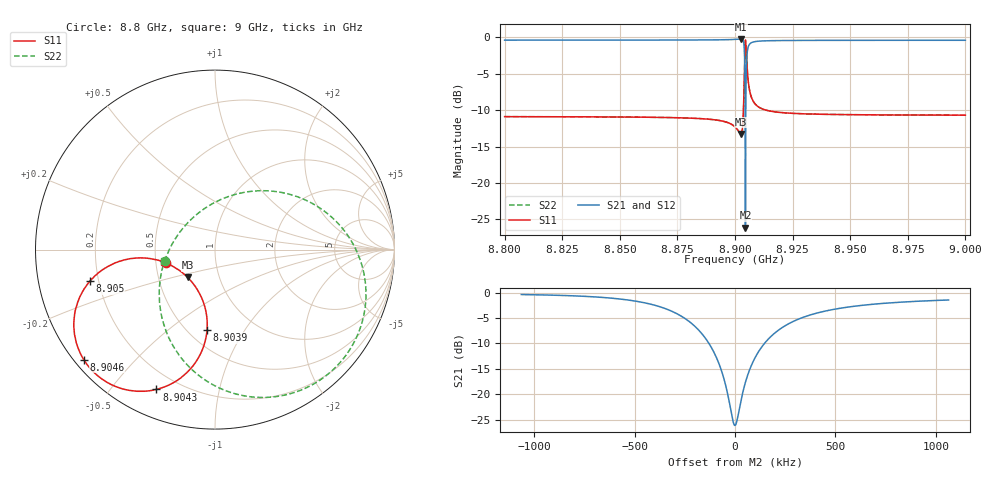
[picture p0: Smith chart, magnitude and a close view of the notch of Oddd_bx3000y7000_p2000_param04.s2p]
! Sonnet Data File
! From: emgraph Version : 16.52
! From Project: Resonator2
! Data is De-embedded
! Data File Written: 10/05/2017 10:46:05
!< HDATE 10/04/2017 20:26:48
!< MDATE 10/05/2017 00:36:07
!< PARAMS
!< gap = 26.0
!< Length = 400.0
!< Pwid1 = 2000.0
!< Pwid2 = 2000.0
!< END PARAMS
# GHZ S MA R 50.00000
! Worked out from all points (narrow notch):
!   1595 points, 8.8 GHz to 9 GHz, reference 50 ohm
!   highest |S21| = -0.22 dB at 8.9024 GHz (marker M1); lowest = -26.2 dB at 8.9045 GHz (marker M2)
!   notch at M2: 25.8 dB deep, 181 kHz wide at half that depth
!   lowest |S11| = -13.3 dB at 8.9026 GHz (marker M3), VSWR 1.56, Z = 35.3 - j11.5 ohm
!   |S11| at or under -10 dB: start of sweep to 8.9037 GHz; 8.9135 GHz to end of sweep
!   |S22| runs from -13.4 to -0.5 dB; largest |S21 - S12| = 0
!   S11 on the Smith chart (normalised r, x): 8.8 GHz: 0.56, -0.09; 8.9039 GHz: 0.62, -0.69; 8.9043 GHz: 0.12, -0.66; 8.9046 GHz: 0.03, -0.36; 8.905 GHz: 0.17, -0.12; 9 GHz: 0.55, -0.08
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8.8  0.2855 -164.4  0.9584 -75.6  0.9584 -75.6  0.2855 -166.7
!< P1 F=8.8 Eeff=(5.36817953 -2.3731e-5) Z0=(35.9853883 8.0522e-5) R=0.0 C=0.0
!< P2 F=8.8 Eeff=(5.36817953 -2.3731e-5) Z0=(35.9853883 8.0522e-5) R=0.0 C=0.0
8.8334  0.2848 -164.5  0.9586 -75.9  0.9586 -75.9  0.2848 -167.3
8.8668  0.2822 -164.4  0.9593 -76.5  0.9593 -76.5  0.2822 -168.6
8.9  0.2432 -155.5  0.9697 -81.0  0.9697 -81.0  0.2425 173.7
8.902404  0.2178 -138.0  0.9746 -86.5  0.9746 -86.5  0.2143 145.1
8.902589  0.2173 -134.4  0.9744 -87.4  0.9744 -87.4  0.2131 139.6
8.9034  0.258 -109.7  0.9613 -95.5  0.9613 -95.5  0.2479 97.3
8.903933  0.4494 -95.7  0.8777 -110.9  0.8777 -110.9  0.4322 49.4
8.904171  0.6592 -100.7  0.7178 -126.4  0.7178 -126.4  0.638 20.4
8.904338  0.8446 -112.7  0.4647 -142.8  0.4647 -142.8  0.8213 -5.8
8.904448  0.9346 -124.2  0.2209 -151.1  0.2209 -151.1  0.9115 -25.4
8.904537  0.9605 -134.1  0.04924 -84.9  0.04924 -84.9  0.9388 -41.3
8.904593  0.9543 -140.0  0.1391 -24.7  0.1391 -24.7  0.9339 -50.6
8.90465  0.9338 -145.5  0.2546 -22.1  0.2546 -22.1  0.915 -59.5
8.904735  0.8876 -152.4  0.3997 -27.0  0.3997 -27.0  0.8712 -71.0
8.905014  0.7194 -165.8  0.6756 -43.3  0.6756 -43.3  0.7093 -97.0
8.905425  0.5651 -172.3  0.8183 -55.4  0.8183 -55.4  0.5597 -116.9
8.906207  0.4434 -173.9  0.8942 -64.3  0.8942 -64.3  0.4411 -134.0
8.909028  0.345 -171.1  0.9383 -71.6  0.9383 -71.6  0.3446 -152.1
8.9334  0.2974 -166.9  0.9547 -75.7  0.9547 -75.7  0.2974 -164.5
8.9668  0.2932 -166.6  0.956 -76.4  0.956 -76.4  0.2932 -166.2
9  0.2922 -166.7  0.9563 -76.8  0.9563 -76.8  0.2922 -166.9
